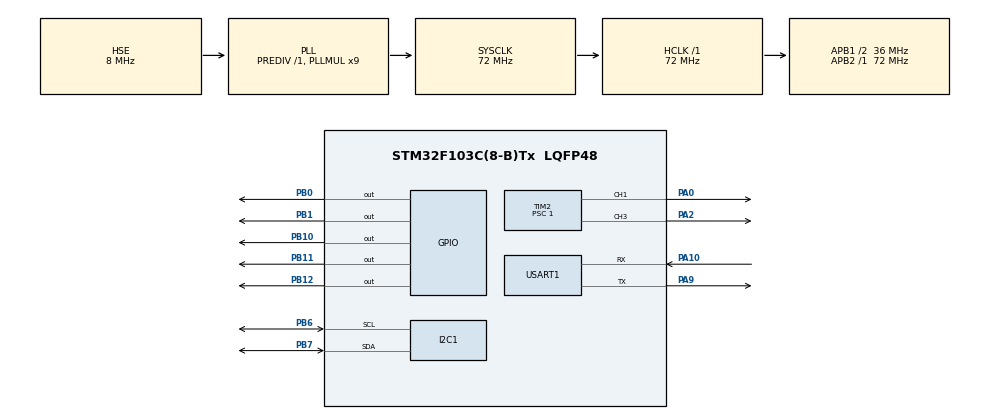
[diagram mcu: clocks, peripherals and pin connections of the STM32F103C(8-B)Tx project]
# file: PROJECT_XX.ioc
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I2C1.I2C_Mode=I2C_Fast
Mcu.Family=STM32F1
Mcu.Name=STM32F103C(8-B)Tx
Mcu.Package=LQFP48
NVIC.PriorityGroup=NVIC_PRIORITYGROUP_4
NVIC.USART1_IRQn=true\:0\:0\:false\:false\:true\:true\:true\:true
PA0-WKUP.Signal=S_TIM2_CH1_ETR
PA10.Mode=Asynchronous
PA10.Signal=USART1_RX
PA13.Mode=Serial_Wire
PA13.Signal=SYS_JTMS-SWDIO
PA14.Mode=Serial_Wire
PA14.Signal=SYS_JTCK-SWCLK
PA2.Signal=S_TIM2_CH3
PA9.Mode=Asynchronous
PA9.Signal=USART1_TX
PB0.Signal=GPIO_Output
PB1.Signal=GPIO_Output
PB10.Signal=GPIO_Output
PB11.Signal=GPIO_Output
PB12.PinState=GPIO_PIN_SET
PB12.Signal=GPIO_Output
PB6.Mode=I2C
PB6.Signal=I2C1_SCL
PB7.Mode=I2C
PB7.Signal=I2C1_SDA
PC14-OSC32_IN.Mode=LSE-External-Oscillator
PC14-OSC32_IN.Signal=RCC_OSC32_IN
PC15-OSC32_OUT.Mode=LSE-External-Oscillator
PC15-OSC32_OUT.Signal=RCC_OSC32_OUT
PD0-OSC_IN.Mode=HSE-External-Oscillator
PD0-OSC_IN.Signal=RCC_OSC_IN
PD1-OSC_OUT.Mode=HSE-External-Oscillator
PD1-OSC_OUT.Signal=RCC_OSC_OUT
ProjectManager.HeapSize=0x200
ProjectManager.StackSize=0x400
ProjectManager.TargetToolchain=STM32CubeIDE
RCC.AHBFreq_Value=72000000
RCC.APB1CLKDivider=RCC_HCLK_DIV2
RCC.APB1Freq_Value=36000000
RCC.APB1TimFreq_Value=72000000
RCC.APB2Freq_Value=72000000
RCC.APB2TimFreq_Value=72000000
RCC.HCLKFreq_Value=72000000
RCC.PLLMUL=RCC_PLL_MUL9
RCC.PLLSourceVirtual=RCC_PLLSOURCE_HSE
RCC.SYSCLKFreq_VALUE=72000000
RCC.SYSCLKSource=RCC_SYSCLKSOURCE_PLLCLK
RCC.USBFreq_Value=72000000
SH.S_TIM2_CH1_ETR.0=TIM2_CH1,PWM Generation1 CH1
SH.S_TIM2_CH3.0=TIM2_CH3,PWM Generation3 CH3
TIM2.Channel-PWM\ Generation1\ CH1=TIM_CHANNEL_1
TIM2.Channel-PWM\ Generation3\ CH3=TIM_CHANNEL_3
TIM2.Period=3599
TIM2.Prescaler=1
USART1.VirtualMode=VM_ASYNC
VP_TIM2_VS_ClockSourceINT.Mode=Internal
board=custom

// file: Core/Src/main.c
/* USER CODE BEGIN Header */
/**
  ******************************************************************************
  * @file           : main.c
  * @brief          : Main program body
  ******************************************************************************
  * @attention
  *
  * Copyright (c) 2025 STMicroelectronics.
  * All rights reserved.
  *
  * This software is licensed under terms that can be found in the LICENSE file
  * in the root directory of this software component.
  * If no LICENSE file comes with this software, it is provided AS-IS.
  *
  ******************************************************************************
  */
/* USER CODE END Header */
#include "main.h"
#include "cmsis_os.h"

/* USER CODE BEGIN Includes */
#include "math.h"
#include "string.h"
#include "Kalman.h"
#include "utils.h"
#include "stdlib.h"
#include <stdio.h>

/* USER CODE END Includes */

/* USER CODE BEGIN PD */
/* --- PID params --- */
#define KP      55.0f
#define KI       0.0f
#define KD      0.0f
#define I_LIM    2.5f

/* --- GPIO map --- */
#define DIR_L_F   GPIO_PIN_0
#define DIR_L_R   GPIO_PIN_1
#define DIR_R_F   GPIO_PIN_10
#define DIR_R_R   GPIO_PIN_11
#define DIR_PORT  GPIOB

/* --- PWM / giới hạn --- */
#define MAX_PWM      2700
#define DEAD_PWM     150  /
#define DEAD_FWD     150  // dead-zone cho chiều tiến
#define DEAD_REV     200  // dead-zone cho chiều lùi
#define FALL_ANGLE     45.0f

#define TURN_DURATION_US 150000
#define TURN_PWM_OFFSET    80
#define PERIOD_M 3600

/* --- Auto-calib --- */
#define AUTOCALIB_MS     5000

#define LED_CALIB_PIN   GPIO_PIN_12
#define LED_CALIB_PORT  GPIOB

#define LOOP_MIN_DT_S   0.004f
#define LOOP_MAX_DT_S   0.005f

#define ANGLE_STOP_TH   0.5f
#define GYRO_STOP_TH    2.0f

#define LEFT_MOTOR_COMP  1.00f
#define RIGHT_MOTOR_COMP 1.00f
/* USER CODE END PD */

/* USER CODE BEGIN PM */
Kalman_t kal;
volatile uint8_t  bt_rx;
volatile char     bt_cmd = 'S';
volatile uint8_t  newCmd = 0;

float  integ = 0, prevErr = 0, prevDeriv = 0;
float setPointOriginal= 0.0f * DEG2RAD;
float  setPoint         = 0.0f;

volatile uint32_t turn_active_until = 0;
volatile char     current_turn_direction = 'S';
volatile char     prev_bt_cmd = 'S';

volatile uint8_t motors_enabled = 1; // 1= chạy motor, 0= dừng do fall

float    angle_offset_deg = 0.0f;
uint8_t  autoCalib_done  = 0;
uint32_t  tPrev = 0;
uint32_t  tick_start = 0;
float     pitchDeg_raw = 0, gyro = 0;
float offset_sum = 0.0f;
uint32_t offset_cnt = 0;
static uint32_t counter = 0;
static uint32_t last_debug = 0;
uint32_t now =0;
float    dt =0;
int16_t left_pwm  = 1300;
int16_t right_pwm = 1300;
uint32_t hal_stick =0;

/* USER CODE END PM */

I2C_HandleTypeDef hi2c1;

TIM_HandleTypeDef htim2;

UART_HandleTypeDef huart1;

osThreadId convertHandle;
osThreadId readMpuHandle;
osThreadId setMotorHandle;

void SystemClock_Config(void);
static void MX_GPIO_Init(void);
static void MX_I2C1_Init(void);
static void MX_TIM2_Init(void);
static void MX_USART1_UART_Init(void);
void Startconvert(void const * argument);
void StartTaskreadMpu(void const * argument);
void StartsetMotor(void const * argument);

/* USER CODE BEGIN 0 */
void MPU6050_Init(void);
void readMPU(float *pitchDeg, float *gyroRate, float dt);
void stopMotor(void);
void setIndividualMotors(int16_t left_pwm, int16_t right_pwm);
/* USER CODE END 0 */

int main(void)
{

  /* MCU Configuration--------------------------------------------------------*/

  /* Reset of all peripherals, Initializes the Flash interface and the Systick. */
  HAL_Init();

  /* Configure the system clock */
  SystemClock_Config();

  /* Initialize all configured peripherals */
  MX_GPIO_Init();
  MX_I2C1_Init();
  MX_TIM2_Init();
  MX_USART1_UART_Init();
  /* USER CODE BEGIN 2 */

  HAL_TIM_PWM_Start(&htim2, TIM_CHANNEL_1);
  HAL_TIM_PWM_Start(&htim2, TIM_CHANNEL_3);

  CoreDebug->DEMCR |= CoreDebug_DEMCR_TRCENA_Msk;
  DWT->CYCCNT = 0;
  DWT->CTRL  |= DWT_CTRL_CYCCNTENA_Msk;

  Kalman_Init(&kal);
  MPU6050_Init();
  tPrev = micros();
   tick_start = HAL_GetTick();
  /* USER CODE END 2 */

  /* Create the thread(s) */
  /* definition and creation of convert */
  osThreadDef(convert, Startconvert, osPriorityLow, 0, 128);
  convertHandle = osThreadCreate(osThread(convert), NULL);

  /* definition and creation of readMpu */
  osThreadDef(readMpu, StartTaskreadMpu, osPriorityNormal, 0, 128);
  readMpuHandle = osThreadCreate(osThread(readMpu), NULL);

  /* definition and creation of setMotor */
  osThreadDef(setMotor, StartsetMotor, osPriorityIdle, 0, 128);
  setMotorHandle = osThreadCreate(osThread(setMotor), NULL);

  /* Start scheduler */
  osKernelStart();

  /* We should never get here as control is now taken by the scheduler */

  /* Infinite loop */
  while (1)
  {

  }
}

void SystemClock_Config(void)
{
  RCC_OscInitTypeDef RCC_OscInitStruct = {0};
  RCC_ClkInitTypeDef RCC_ClkInitStruct = {0};

  /** Initializes the RCC Oscillators according to the specified parameters
  * in the RCC_OscInitTypeDef structure.
  */
  RCC_OscInitStruct.OscillatorType = RCC_OSCILLATORTYPE_HSE;
  RCC_OscInitStruct.HSEState = RCC_HSE_ON;
  RCC_OscInitStruct.HSEPredivValue = RCC_HSE_PREDIV_DIV1;
  RCC_OscInitStruct.HSIState = RCC_HSI_ON;
  RCC_OscInitStruct.PLL.PLLState = RCC_PLL_ON;
  RCC_OscInitStruct.PLL.PLLSource = RCC_PLLSOURCE_HSE;
  RCC_OscInitStruct.PLL.PLLMUL = RCC_PLL_MUL9;
  if (HAL_RCC_OscConfig(&RCC_OscInitStruct) != HAL_OK)
  {
    Error_Handler();
  }

  /** Initializes the CPU, AHB and APB buses clocks
  */
  RCC_ClkInitStruct.ClockType = RCC_CLOCKTYPE_HCLK|RCC_CLOCKTYPE_SYSCLK
                              |RCC_CLOCKTYPE_PCLK1|RCC_CLOCKTYPE_PCLK2;
  RCC_ClkInitStruct.SYSCLKSource = RCC_SYSCLKSOURCE_PLLCLK;
  RCC_ClkInitStruct.AHBCLKDivider = RCC_SYSCLK_DIV1;
  RCC_ClkInitStruct.APB1CLKDivider = RCC_HCLK_DIV2;
  RCC_ClkInitStruct.APB2CLKDivider = RCC_HCLK_DIV1;

  if (HAL_RCC_ClockConfig(&RCC_ClkInitStruct, FLASH_LATENCY_2) != HAL_OK)
  {
    Error_Handler();
  }
}

static void MX_I2C1_Init(void)
{

  hi2c1.Instance = I2C1;
  hi2c1.Init.ClockSpeed = 400000;
  hi2c1.Init.DutyCycle = I2C_DUTYCYCLE_2;
  hi2c1.Init.OwnAddress1 = 0;
  hi2c1.Init.AddressingMode = I2C_ADDRESSINGMODE_7BIT;
  hi2c1.Init.DualAddressMode = I2C_DUALADDRESS_DISABLE;
  hi2c1.Init.OwnAddress2 = 0;
  hi2c1.Init.GeneralCallMode = I2C_GENERALCALL_DISABLE;
  hi2c1.Init.NoStretchMode = I2C_NOSTRETCH_DISABLE;
  if (HAL_I2C_Init(&hi2c1) != HAL_OK)
  {
    Error_Handler();
  }

}

static void MX_TIM2_Init(void)
{

  TIM_ClockConfigTypeDef sClockSourceConfig = {0};
  TIM_MasterConfigTypeDef sMasterConfig = {0};
  TIM_OC_InitTypeDef sConfigOC = {0};

  htim2.Instance = TIM2;
  htim2.Init.Prescaler = 0;
  htim2.Init.CounterMode = TIM_COUNTERMODE_UP;
  htim2.Init.Period = 3600;
  htim2.Init.ClockDivision = TIM_CLOCKDIVISION_DIV1;
  htim2.Init.AutoReloadPreload = TIM_AUTORELOAD_PRELOAD_DISABLE;
  if (HAL_TIM_Base_Init(&htim2) != HAL_OK)
  {
    Error_Handler();
  }
  sClockSourceConfig.ClockSource = TIM_CLOCKSOURCE_INTERNAL;
  if (HAL_TIM_ConfigClockSource(&htim2, &sClockSourceConfig) != HAL_OK)
  {
    Error_Handler();
  }
  if (HAL_TIM_PWM_Init(&htim2) != HAL_OK)
  {
    Error_Handler();
  }
  sMasterConfig.MasterOutputTrigger = TIM_TRGO_RESET;
  sMasterConfig.MasterSlaveMode = TIM_MASTERSLAVEMODE_DISABLE;
  if (HAL_TIMEx_MasterConfigSynchronization(&htim2, &sMasterConfig) != HAL_OK)
  {
    Error_Handler();
  }
  sConfigOC.OCMode = TIM_OCMODE_PWM1;
  sConfigOC.Pulse = 0;
  sConfigOC.OCPolarity = TIM_OCPOLARITY_HIGH;
  sConfigOC.OCFastMode = TIM_OCFAST_DISABLE;
  if (HAL_TIM_PWM_ConfigChannel(&htim2, &sConfigOC, TIM_CHANNEL_1) != HAL_OK)
  {
    Error_Handler();
  }
  if (HAL_TIM_PWM_ConfigChannel(&htim2, &sConfigOC, TIM_CHANNEL_3) != HAL_OK)
  {
    Error_Handler();
  }
  HAL_TIM_MspPostInit(&htim2);

}

static void MX_USART1_UART_Init(void)
{

  huart1.Instance = USART1;
  huart1.Init.BaudRate = 115200;
  huart1.Init.WordLength = UART_WORDLENGTH_8B;
  huart1.Init.StopBits = UART_STOPBITS_1;
  huart1.Init.Parity = UART_PARITY_NONE;
  huart1.Init.Mode = UART_MODE_TX_RX;
  huart1.Init.HwFlowCtl = UART_HWCONTROL_NONE;
  huart1.Init.OverSampling = UART_OVERSAMPLING_16;
  if (HAL_UART_Init(&huart1) != HAL_OK)
  {
    Error_Handler();
  }

}

static void MX_GPIO_Init(void)
{
  GPIO_InitTypeDef GPIO_InitStruct = {0};

  /* GPIO Ports Clock Enable */
  __HAL_RCC_GPIOC_CLK_ENABLE();
  __HAL_RCC_GPIOD_CLK_ENABLE();
  __HAL_RCC_GPIOA_CLK_ENABLE();
  __HAL_RCC_GPIOB_CLK_ENABLE();

  /*Configure GPIO pin Output Level */
  HAL_GPIO_WritePin(GPIOB, GPIO_PIN_0|GPIO_PIN_1|GPIO_PIN_10|GPIO_PIN_11
                          |GPIO_PIN_12, GPIO_PIN_RESET);

  /*Configure GPIO pins : PB0 PB1 PB10 PB11
                           PB12 */
  GPIO_InitStruct.Pin = GPIO_PIN_0|GPIO_PIN_1|GPIO_PIN_10|GPIO_PIN_11
                          |GPIO_PIN_12;
  GPIO_InitStruct.Mode = GPIO_MODE_OUTPUT_PP;
  GPIO_InitStruct.Pull = GPIO_NOPULL;
  GPIO_InitStruct.Speed = GPIO_SPEED_FREQ_LOW;
  HAL_GPIO_Init(GPIOB, &GPIO_InitStruct);

}

/* USER CODE BEGIN 4 */
/* ---------------- MPU6050 ---------------- */
void MPU6050_Init(void)
{
    uint8_t d = 0;
    // Reset device - recommended by datasheet when changing power settings
    // HAL_I2C_Mem_Write(&hi2c1, 0x68<<1, 0x6B, 1, &(uint8_t){0x80}, 1, HAL_MAX_DELAY); // Reset MPU6050
    // HAL_Delay(100);

    HAL_I2C_Mem_Write(&hi2c1, 0x68<<1, 0x6B, 1, &d, 1, HAL_MAX_DELAY);
    HAL_Delay(100);

    // Configure MPU6050 registers explicitly as in Arduino example comments
    // SMPLRT_DIV (0x19): Set sample rate to 1000Hz (8kHz / (7+1))
    HAL_I2C_Mem_Write(&hi2c1, 0x68<<1, 0x19, 1, &(uint8_t){0x07}, 1, HAL_MAX_DELAY);
    // CONFIG (0x1A): Disable FSYNC, DLPF_CFG = 0 (256Hz Gyro, 260Hz Accel bandwidth)
    HAL_I2C_Mem_Write(&hi2c1, 0x68<<1, 0x1A, 1, &(uint8_t){0x00}, 1, HAL_MAX_DELAY);
    // GYRO_CONFIG (0x1B): FS_SEL = 0 (+/- 250 deg/s)
    HAL_I2C_Mem_Write(&hi2c1, 0x68<<1, 0x1B, 1, &(uint8_t){0x00}, 1, HAL_MAX_DELAY);
    // ACCEL_CONFIG (0x1C): AFS_SEL = 0 (+/- 2g)
    HAL_I2C_Mem_Write(&hi2c1, 0x68<<1, 0x1C, 1, &(uint8_t){0x00}, 1, HAL_MAX_DELAY);

    /* lấy 200 mẫu avg để init Kalman.angle */
    int32_t sum = 0;
    for (int i = 0; i < 200; i++) {
        uint8_t buf[6];
        if (HAL_I2C_Mem_Read(&hi2c1, 0x68<<1, 0x3B, 1, buf, 6, HAL_MAX_DELAY) != HAL_OK)
            continue;
        int16_t ax = (buf[0]<<8)|buf[1];
        int16_t az = (buf[4]<<8)|buf[5];
        float pitchAcc = atan2f(-ax, az) * 57.2958f;
        sum += pitchAcc;
        HAL_Delay(2);
    }
    kal.angle = sum / 200.0f;

    /* gyro X offset */
    int32_t gsum = 0;
    for (int i = 0; i < 1000; i++) {
        uint8_t buf[14];
        if (HAL_I2C_Mem_Read(&hi2c1, 0x68<<1, 0x3B, 1, buf, 14, HAL_MAX_DELAY) != HAL_OK)
            continue;
        int16_t gx = (buf[8]<<8)|buf[9];
        gsum += gx;
        HAL_Delay(1);
    }
    kal.bias = (float)gsum / 1000.0f / 131.0f;   /* bias lưu luôn vào Kalman */
}

void readMPU(float *pitchDeg, float *gyroRate, float dt)
{
    uint8_t b[14];
    if (HAL_I2C_Mem_Read(&hi2c1, 0x68<<1, 0x3B, 1, b, 14, HAL_MAX_DELAY) != HAL_OK)
        return;
    int16_t ax = (b[0]<<8)|b[1];
    int16_t az = (b[4]<<8)|b[5];
    int16_t gx = (b[8]<<8)|b[9];

    *gyroRate = (gx / 131.0f);  // bias is compensated inside Kalman_GetAngle
    float pitchAcc = atan2f(-ax, az) * 57.2958f; // atan(-ax/az)
    *pitchDeg = Kalman_GetAngle(&kal, pitchAcc, *gyroRate, dt);
}

/* --------------- Motor helpers --------------- */
void stopMotor(void)
{
    __HAL_TIM_SET_COMPARE(&htim2, TIM_CHANNEL_1, 0);
    __HAL_TIM_SET_COMPARE(&htim2, TIM_CHANNEL_3, 0);
    HAL_GPIO_WritePin(DIR_PORT, DIR_L_F|DIR_L_R|DIR_R_F|DIR_R_R, GPIO_PIN_RESET);
}

void setIndividualMotors(int16_t left_pwm, int16_t right_pwm)
{
    /* Left direction */
    int16_t lsign = (left_pwm >= 0) ? 1 : -1;
    if (lsign < 0) left_pwm = -left_pwm;

    HAL_GPIO_WritePin(DIR_PORT, DIR_L_F, (lsign > 0) ? GPIO_PIN_SET : GPIO_PIN_RESET);
    HAL_GPIO_WritePin(DIR_PORT, DIR_L_R, (lsign > 0) ? GPIO_PIN_RESET : GPIO_PIN_SET);
    if (left_pwm == 0) HAL_GPIO_WritePin(DIR_PORT, DIR_L_F|DIR_L_R, GPIO_PIN_RESET);
    __HAL_TIM_SET_COMPARE(&htim2, TIM_CHANNEL_1, left_pwm);

    int16_t rsign = (right_pwm >= 0) ? 1 : -1;
    if (rsign < 0) right_pwm = -right_pwm;

    HAL_GPIO_WritePin(DIR_PORT, DIR_R_F, (rsign > 0) ? GPIO_PIN_RESET : GPIO_PIN_SET);
    HAL_GPIO_WritePin(DIR_PORT, DIR_R_R, (rsign > 0) ? GPIO_PIN_SET : GPIO_PIN_RESET);
    if (right_pwm == 0) HAL_GPIO_WritePin(DIR_PORT, DIR_R_F|DIR_R_R, GPIO_PIN_RESET);
    __HAL_TIM_SET_COMPARE(&htim2, TIM_CHANNEL_3, right_pwm);
}
void HAL_UART_RxCpltCallback(UART_HandleTypeDef *huart)
{
    if (huart->Instance == USART1) {
        bt_cmd = bt_rx;
        newCmd = 1;
        HAL_UART_Receive_IT(&huart1, (uint8_t*)&bt_rx, 1);
    }
}
/* USER CODE END 4 */

void Startconvert(void const * argument)
{
  /* USER CODE BEGIN 5 */

  /* Infinite loop */
  for(;;)
  {

	   if (!autoCalib_done && HAL_GetTick() - tick_start < AUTOCALIB_MS) {
	      HAL_GPIO_WritePin(LED_CALIB_PORT, LED_CALIB_PIN, GPIO_PIN_SET);
	      stopMotor();
	      offset_sum += pitchDeg_raw;
	      offset_cnt++;
	      osDelay(1);
	      continue;
	    }
	    else if (!autoCalib_done) {
	      angle_offset_deg = offset_sum / (float)offset_cnt;
	      autoCalib_done   = 1;
	      integ = 0.0f;
	      setPoint = setPointOriginal ;
	      HAL_GPIO_WritePin(LED_CALIB_PORT, LED_CALIB_PIN, GPIO_PIN_RESET);
	    }

	    float pitchDeg = pitchDeg_raw - angle_offset_deg;

	    if (fabsf(pitchDeg) > FALL_ANGLE) {
	      stopMotor();
	      motors_enabled = 0; // khoá motor
	      left_pwm = 0;
	      right_pwm = 0; // đảm bảo task setMotor không chạy lại PWM cũ
	      integ = prevErr = prevDeriv = 0;
	      current_turn_direction = 'S';
	      setPoint = setPointOriginal;
	      prev_bt_cmd = 'S';
	      osDelay(1);
	      continue;
	    }

	    /* mở khoá motor khi góc trở lại an toàn (<5°) */
	    if (!motors_enabled && fabsf(pitchDeg) < 5.0f) {
	        motors_enabled = 1;
	    }

	    float theta = pitchDeg * DEG2RAD;
	    float omega = -gyro * DEG2RAD;
	    float err   = setPoint - theta;

	    float up = KP * err;
	    float ud = KD * omega;
	    integ += err * dt;
	    if (integ >  I_LIM) integ =  I_LIM;
	    if (integ < -I_LIM) integ = -I_LIM;
	    float ui = KI * integ;

	    float out = up + ud + ui;

	    int16_t pwm_raw = (int16_t)(out * 1000.0f);
	    int16_t sign    = (pwm_raw >= 0) ?  1 : -1;
	    int16_t mag     = abs(pwm_raw);

	    /* Dead-zone phụ thuộc chiều: tiến = 150, lùi = 200 */
	    int16_t dead_th = (sign > 0) ? DEAD_FWD : DEAD_REV;

	    if (mag < dead_th) {
	      if (fabsf(pitchDeg) < ANGLE_STOP_TH && fabsf(gyro) < GYRO_STOP_TH) {
	        mag = 0;
	      } else {
	        mag = dead_th;
	      }
	    }

	    int16_t pwm = sign * mag;
	    if (pwm >  MAX_PWM) pwm =  MAX_PWM;
	    if (pwm < -MAX_PWM) pwm = -MAX_PWM;

	     left_pwm  = pwm;
	     right_pwm = pwm;

	    if (current_turn_direction != 'S' && now < turn_active_until) {
	      if (current_turn_direction == 'L') {
	        left_pwm  = pwm - TURN_PWM_OFFSET;
	        right_pwm = pwm + TURN_PWM_OFFSET;
	      } else {
	        left_pwm  = pwm + TURN_PWM_OFFSET;
	        right_pwm = pwm - TURN_PWM_OFFSET;
	      }
	    } else {
	      current_turn_direction = 'S';
	      prev_bt_cmd = 'S';
	    }

	    left_pwm  = (int16_t)(left_pwm * LEFT_MOTOR_COMP);
	    right_pwm = (int16_t)(right_pwm * RIGHT_MOTOR_COMP);

	    left_pwm  = fminf(fmaxf(left_pwm,  -MAX_PWM), MAX_PWM);
	    right_pwm = fminf(fmaxf(right_pwm, -MAX_PWM), MAX_PWM);

    osDelay(1);
  }
  /* USER CODE END 5 */
}

void StartTaskreadMpu(void const * argument)
{
  /* USER CODE BEGIN StartTaskreadMpu */
  /* Infinite loop */
  for(;;)
  {
	        now  = micros();
	        dt   = (now - tPrev) * 1e-6f;

	    if (dt < LOOP_MIN_DT_S) continue;
	    if (dt > LOOP_MAX_DT_S) dt = LOOP_MAX_DT_S;
	    tPrev = now;
	    counter++;

	    if (HAL_GetTick() - last_debug >= 1000) {
	    //  printf("Loop/s: %lu\r\n", counter);
	      counter = 0;
	      last_debug = HAL_GetTick();
	    }

        uint32_t term = HAL_GetTick();
	    readMPU(&pitchDeg_raw, &gyro, dt);
	    hal_stick = HAL_GetTick() - term;
    osDelay(1);
  }
  /* USER CODE END StartTaskreadMpu */
}

void StartsetMotor(void const * argument)
{
  /* USER CODE BEGIN StartsetMotor */
  /* Infinite loop */
  for(;;)
  {

		  if (motors_enabled) {
		      setIndividualMotors(left_pwm, right_pwm);
		  } else {
		      setIndividualMotors(0, 0);
		  }

    osDelay(1);
  }
  /* USER CODE END StartsetMotor */
}

void HAL_TIM_PeriodElapsedCallback(TIM_HandleTypeDef *htim)
{
  if (htim->Instance == TIM1)
  {
    HAL_IncTick();
  }
}

void Error_Handler(void)
{
  __disable_irq();
  while (1)
  {
  }
}

Beta
0 / 0
used queries
1
